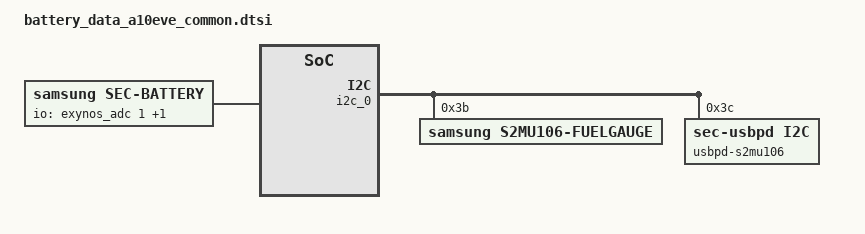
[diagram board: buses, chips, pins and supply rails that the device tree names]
/*
 * A10E JPN Battery parameters device tree file
 *
 * Copyright (C) 2018 Samsung Electronics, Inc.
 *
 * This program is free software; you can redistribute it and/or
 * modify it under the terms of the GNU General Public License
 * as published by the Free Software Foundation; either version 2
 * of the License, or (at your option) any later version.
 *
 * This program is distributed in the hope that it will be useful,
 * but WITHOUT ANY WARRANTY; without even the implied warranty of
 * MERCHANTABILITY or FITNESS FOR A PARTICULAR PURPOSE. See the
 * GNU General Public License for more details.
 *
 * You should have received a copy of the GNU General Public License
 * along with this program. If not, see <http://www.gnu.org/licenses/>.
 *
 */

/ {
	fragment@battery {
		target-path = "/";
		__overlay__ {
			battery_params {
				battery,battery_data =
				<
					/***** battery data for 4.35 *****/
					/* battery,battery_table3 */
					193 10 75 10 212 9 103 9 254 8
					160 8 62 8 233 7 156 7 66 7
					237 6 181 6 139 6 106 6 79 6
					53 6 18 6 236 5 181 5 141 5
					250 4 216 1 105 8 0 8 151 7
					47 7 198 6 93 6 245 5 140 5
					35 5 187 4 82 4 233 3 128 3
					24 3 175 2 70 2 222 1 117 1
					12 1 164 0 59 0 210 15

					/* battery,battery_table4 */
					10 10 10 10 97 97 96 97 96 96
					96 96 97 98 100 101 104 107 113 124
					138 206

					/* battery,batcap */
					0x14 0x2D 0xA0 0x07  /* [0x0E] [0x0F] [0x10] [0x11] */

					/* battery,accum */ 
					0x00 0x08 /* [0x44] [0x45] */

					/* battery,soc_arr_val */
					10511 10000 9488 8977 8466 7955 7444 6933 6422 5910
					5399 4888 4377 3866 3355 2844 2332 1821 1310 799
					288 (-222)

					/* battery,ocv_arr_val */
					43443 42864 42285 41751 41242 40779 40304 39888 39510 39072
					38657 38383 38180 38017 37886 37758 37586 37402 37133 36936
					36223 32306

					/* battery,tunning */
					0x00

					/***** battery data for 4.33 *****/
					/* battery,battery_table3 */
					193 10 75 10 212 9 103 9 254 8
					160 8 62 8 233 7 156 7 66 7
					237 6 181 6 139 6 106 6 79 6
					53 6 18 6 236 5 181 5 141 5
					250 4 216 1 169 8 62 8 210 7
					102 7 251 6 143 6 35 6 184 5
					76 5 224 4 117 4 9 4 157 3
					50 3 198 2 90 2 239 1 131 1
					23 1 172 0 64 0 212 15

					/* battery,battery_table4 */
					51 51 97 97 97 97 96 97 96 96
					96 96 97 98 100 101 104 107 113 124
					138 100

					/* battery,batcap */
					0x50 0x2D 0x54 0x0B /* [0x0E] [0x0F] [0x10] [0x11] */
					/* battery,accum */
					0x00 0x8 /* [0x44] [0x45] */

					/* battery,soc_arr_val */
					10826 10301 9775 9249 8723 8198 7672 7146 6620 6095
					5569 5043 4518 3992 3466 2940 2415 1889 1363 838
					312 (-213)

					/* battery,ocv_arr_val */
					43443 42864 42285 41751 41242 40779 40304 39888 39510 39072
					38657 38383 38180 38017 37886 37758 37586 37402 37133 36936
					36223 32306

					/* battery,tunning */
					0x00

					/***** battery data for 4.31 *****/
					/* battery,battery_table3 */
					193 10 75 10 212 9 103 9 254 8
					160 8 62 8 233 7 156 7 66 7
					237 6 181 6 139 6 106 6 79 6
					53 6 18 6 236 5 181 5 141 5
					250 4 216 1 212 8 102 8 248 7
					139 7 29 7 175 6 65 6 212 5
					102 5 248 4 138 4 29 4 175 3
					65 3 212 2 102 2 248 1 138 1
					29 1 175 0 65 0 211 15

					/* battery,battery_table4 */
					51 51 97 97 97 97 96 97 96 96
					96 96 97 98 100 101 104 107 113 124
					138 100

					/* battery,batcap */
					0x88 0x2C 0x22 0x0B /* [0x0E] [0x0F] [0x10] [0x11] */
					/* battery,accum */
					0x00 0x8 /* [0x44] [0x45] */

					/* battery,soc_arr_val */
					11034 10498 9962 9426 8891 8355 7819 7283 6747 6212
					5676 5140 4604 4068 3533 2997 2461 1925 1389 854
					318 (-217)
					

					/* battery,ocv_arr_val */
					43443 42864 42285 41751 41242 40779 40304 39888 39510 39072
					38657 38383 38180 38017 37886 37758 37586 37402 37133 36936
					36223 32306

					/* battery,tunning */
					0x00

					/***** battery data for 4.29 *****/
					/* battery,battery_table3 */
					193 10 75 10 212 9 103 9 254 8
					160 8 62 8 233 7 156 7 66 7
					237 6 181 6 139 6 106 6 79 6
					53 6 18 6 236 5 181 5 141 5
					250 4 216 1 9 9 153 8 40 8
					184 7 72 7 215 6 103 6 247 5
					134 5 22 5 166 4 54 4 197 3
					85 3 229 2 116 2 4 2 148 1
					35 1 179 0 67 0 210 15

					/* battery,battery_table4 */
					51 51 97 97 97 97 96 97 96 96
					96 96 97 98 100 101 104 107 113 124
					138 100

					/* battery,batcap */
					0xC0 0x2B 0xF0 0x0A /* [0x0E] [0x0F] [0x10] [0x11] */
					/* battery,accum */
					0x00 0x8 /* [0x44] [0x45] */

					/* battery,soc_arr_val */
					11294 10745 10197 9648 9100 8552 8003 7455 6906 6358
					5810 5261 4713 4164 3616 3067 2519 1971 1422 874
					325 (-222)

					/* battery,ocv_arr_val */
					43443 42864 42285 41751 41242 40779 40304 39888 39510 39072
					38657 38383 38180 38017 37886 37758 37586 37402 37133 36936
					36223 32306

					/* battery,tunning */
					0x00

					/***** battery data for 4.24 *****/
					/* battery,battery_table3 */
					193 10 75 10 212 9 103 9 254 8
					160 8 62 8 233 7 156 7 66 7
					237 6 181 6 139 6 106 6 79 6
					53 6 18 6 236 5 181 5 141 5
					250 4 216 1 144 9 25 9 162 8
					43 8 180 7 61 7 198 6 80 6
					217 5 98 5 235 4 116 4 253 3
					135 3 16 3 153 2 34 2 171 1
					52 1 189 0 71 0 208 15

					/* battery,battery_table4 */
					51 51 97 97 97 97 96 97 96 96
					96 96 97 98 100 101 104 107 113 124
					138 100

					/* battery,batcap */
					0x68 0x29 0x5A 0x0A /* [0x0E] [0x0F] [0x10] [0x11] */
					/* battery,accum */
					0x00 0x8 /* [0x44] [0x45] */

					/* battery,soc_arr_val */
					11951 11370 10790 10210 9629 9049 8469 7888 7308 6728
					6147 5567 4987 4406 3826 3246 2666 2085 1505 925
					344 (-235)

					/* battery,ocv_arr_val */
					43443 42864 42285 41751 41242 40779 40304 39888 39510 39072
					38657 38383 38180 38017 37886 37758 37586 37402 37133 36936
					36223 32306

					/* battery,tunning */
					0x00
					>;

				battery,data_ver = <0x04>;
			};

			pdic-manager {
				/* sink */
				pdic,max_power = <5000>;
				pdic,op_power = <2500>;
				pdic,max_voltage = <6000>;
				pdic,max_current = <2000>;
				pdic,min_current = <500>;

				pdic,giveback = <0>;
				pdic,usb_com_capable = <1>;
				pdic,no_usb_suspend = <1>;

				/* source */
				source,max_voltage = <5000>;
				source,min_voltage = <4000>;
				source,max_power = <2500>;

				/* sink cap */
				sink,capable_max_voltage = <9000>;
			};

			battery {
				status = "okay";
				compatible = "samsung,sec-battery";

				pinctrl-names = "default";

				battery,vendor = "Battery";
				battery,charger_name = "s2mu106-charger";
				battery,fuelgauge_name = "s2mu106-fuelgauge";
				battery,technology = <2>; /* POWER_SUPPLY_TECHNOLOGY_LION */
				battery,fgsrc_switch_name = "s2mu106-fuelgauge"; /* Fuelgauge voltage source */

				battery,chip_vendor = "LSI";
				battery,temp_adc_type = <1>; /* SEC_BATTERY_ADC_TYPE_AP */

				battery,temp_check_type = <2>; /* SEC_BATTERY_TEMP_CHECK_TEMP */
				battery,chg_temp_check = <1>;

				battery,thermal_source = <2>; /* SEC_BATTERY_THERMAL_SOURCE_ADC */
				battery,chg_thermal_source = <2>; /* SEC_CHARGER_THERMAL_SOURCE_FG */

				battery,polling_time = <10 30 30 30 3600>;

				battery,temp_table_adc = <
							339 389 443 468 549 639 666 722 788 874
							1019 1177 1277 1404 1493 1608 1808 2061 2309 2502
							2636 2725 2818 2923 3112 3257 3400 3515 3612
							>;
				battery,temp_table_data = <
							900 850 800 750 700 650 620 600 580 550
							500 450 420 400 380 350 300 250 200 150
							120 100 80 50 0 (-50) (-100) (-150) (-200)
							>;

				battery,inbat_voltage = <1>;

				battery,inbat_voltage_table_adc = <
							2766 2755 2728 2698 2678 2649 2620 2598 2562 2532
							2508 2475 2448 2429 2401 2370 2348 2318 2288 2258
							>;
				battery,inbat_voltage_table_data = <
							4350 4300 4250 4200 4150 4100 4050 4000 3950 3900
							3850 3800 3750 3700 3650 3600 3550 3500 3450 3400
							>;

				battery,adc_check_count = <5>;

				battery,cable_check_type = <4>; /* SEC_BATTERY_CABLE_CHECK_PSY */
				battery,cable_source_type = <1>; /* SEC_BATTERY_CABLE_SOURCE_EXTERNAL */
				battery,polling_type = <1>; /* SEC_BATTERY_MONITOR_ALARM */
				battery,monitor_initial_count = <0>;

				battery,pre_afc_input_current = <500>;

				battery,battery_check_type = <0>; /* SEC_BATTERY_CHECK_NONE */
				battery,check_count = <0>;

				battery,ovp_uvlo_check_type = <3>; /* SEC_BATTERY_OVP_UVLO_CHGPOLLING */

				battery,temp_check_count = <1>;
				battery,temp_highlimit_threshold_event = <800>;
				battery,temp_highlimit_recovery_event = <750>;
				battery,temp_high_threshold_event = <500>;
				battery,temp_high_recovery_event = <480>;
				battery,temp_low_threshold_event = <0>;
				battery,temp_low_recovery_event = <20>;
				battery,temp_highlimit_threshold_normal = <800>;
				battery,temp_highlimit_recovery_normal = <750>;
				battery,temp_high_threshold_normal = <500>;
				battery,temp_high_recovery_normal = <480>;
				battery,temp_low_threshold_normal = <0>;
				battery,temp_low_recovery_normal = <20>;
				battery,temp_highlimit_threshold_lpm = <800>;
				battery,temp_highlimit_recovery_lpm = <750>;
				battery,temp_high_threshold_lpm = <500>;
				battery,temp_high_recovery_lpm = <480>;
				battery,temp_low_threshold_lpm = <0>;
				battery,temp_low_recovery_lpm = <20>;
				battery,wpc_high_threshold_normal = <450>;
				battery,wpc_high_recovery_normal = <400>;
				battery,wpc_low_threshold_normal = <0>;
				battery,wpc_low_recovery_normal = <50>;

				battery,full_check_type = <2>; /* SEC_BATTERY_FULLCHARGED_FG_CURRENT */
				battery,full_check_type_2nd = <2>; /* SEC_BATTERY_FULLCHARGED_FG_CURRENT */
				battery,full_check_count = <1>;
				battery,chg_gpio_full_check = <0>;
				battery,chg_polarity_full_check = <1>;

				battery,mix_high_temp = <400>;
				battery,mix_high_chg_temp = <500>;
				battery,mix_high_temp_recovery = <370>;

				battery,chg_heating_prevention_method = <1>; /* SEC_BATTERY_BY_CHANGING_CURRENT */
				battery,chg_high_temp = <495>;
				battery,chg_high_temp_recovery = <475>;
				battery,chg_input_limit_current = <1000>;
				battery,chg_charging_limit_current = <1500>;

				/* SEC_BATTERY_FULL_CONDITION_SOC |
				 * SEC_BATTERY_FULL_CONDITION_NOTIMEFULL |
				 * SEC_BATTERY_FULL_CONDITION_VCELL
				 */
				battery,full_condition_type = <13>;
				battery,full_condition_soc = <93>;
				battery,full_condition_vcell = <4250>;

				battery,recharge_check_count = <1>;
				battery,recharge_condition_type = <4>; /* SEC_BATTERY_RECHARGE_CONDITION_VCELL */
				battery,recharge_condition_soc = <98>;
				battery,recharge_condition_vcell = <4280>;

				battery,charging_total_time = <14400>;
				battery,hv_charging_total_time = <10800>;
				battery,normal_charging_total_time = <18000>;
				battery,usb_charging_total_time = <36000>;
				battery,recharging_total_time = <5400>;
				battery,charging_reset_time = <0>;

				battery,chg_float_voltage = <4350>;

				battery,swelling_high_temp_block = <410>;
				battery,swelling_high_temp_recov = <390>;
				battery,swelling_wc_high_temp_recov = <390>;
				battery,swelling_low_temp_block_1st = <150>;
				battery,swelling_low_temp_recov_1st = <170>;
				battery,swelling_low_temp_block_2nd = <50>;
				battery,swelling_low_temp_recov_2nd = <70>;

				battery,swelling_low_temp_current = <700>;	/* 0.3C */
				battery,swelling_low_temp_current_2nd = <250>; /* 0.1C */
				battery,swelling_low_temp_topoff = <150>;	/* 0.05C */
				battery,swelling_high_temp_current = <1050>;	/* 0.45C */
				battery,swelling_high_temp_topoff = <150>;	/* 0.05C */

				battery,swelling_drop_float_voltage = <4150>;
				battery,swelling_high_rechg_voltage = <4000>;
				battery,swelling_low_rechg_voltage = <4000>;

				battery,siop_event_check_type = <1>;
				battery,siop_call_cv_current = <330>;
				battery,siop_call_cc_current = <330>;

				battery,siop_input_limit_current = <1200>;
				battery,siop_charging_limit_current = <1000>;
				battery,siop_hv_input_limit_current = <700>;
				battery,siop_hv_charging_limit_current = <1000>;

				battery,pd_charging_charge_power = <15000>;
				battery,max_charging_current = <2100>;
				battery,battery_full_capacity = <3000>;

				battery,input_current_by_siop_20 = <400>;
				battery,input_current_by_siop_40 = <500>;

				/* cycle, chg_float_voltage, recharge_condition_vcell, full_condition_vcell, full_condition_soc */
				battery,age_data = <0 4350 4280 4250 93	/*4.35*/
						200 4330 4260 4230 92	/*4.33*/
						250 4310 4240 4210 91	/*4.31*/
						300 4290 4220 4190 90	/*4.29*/
						1000 4240 4170 4140 89	/*4.24*/
						>;

				battery,max_input_voltage = <9000>; /* mV */
				battery,max_input_current = <3000>;  /* mA */

				battery,prepare_afc_delay = <0>;
				battery,recovery_cable;

				battery,standard_curr = <2100>;
				battery,expired_time = <10800>; /* 120 + 60 minutes */
				battery,recharging_expired_time = <5400>;

				battery,cisd_max_voltage_thr = <5000>; /* battery ovp detection voltage */

				battery,cisd_alg_index = <7>;
				battery,lowtemp_support_full_volt;
				battery,enable_water_resistance;

				io-channels = <&exynos_adc 1>, <&exynos_adc 2>;
				io-channel-names = "adc-temp", "adc-in-bat";
				#io-channel-cells = <5>;
				io-channel-ranges;

				battery,ttf_hv_charge_current = <1925>;
				battery,ttf_capacity = <2500>;
				battery,cv_data = <
							2124	743	2397
							1968	761	2290
							1710	777	2185
							1557	792	2077
							1389	805	1972
							1302	813	1901
							1190	824	1795
							1080	835	1689
							978	844	1583
							900	851	1488
							813	859	1382
							770	865	1298
							716	871	1196
							636	877	1097
							601	882	990
							549	887	895
							522	892	798
							479	896	692
							440	911	598
							410	927	493
							371	941	395
							362	953	289
							341	963	194
							335	971	105
							295	979	0
							>;
			};

/* sec_battery_cable
 *   0	UNKNOWN,
 *   1	NONE,
 *   2	PREPARE_TA,
 *   3	TA,
 *   4	USB,
 *   5	USB_CDP,
 *   6	9V_TA,
 *   7	9V_ERR,
 *   8	9V_UNKNOWN,
 *   9	12V_TA,
 *  10	WIRELESS,
 *  11	HV_WIRELESS,
 *  12	PMA_WIRELESS,
 *  13	WIRELESS_PACK,
 *  14	WIRELESS_PACK_TA,
 *  15	WIRELESS_STAND,
 *  16	WIRELESS_HV_STAND,
 *  17	QC20,
 *  18	QC30,
 *  19	PDIC,
 *  20	UARTOFF,
 *  21	OTG,
 *  22	LAN_HUB,
 *  23	POWER_SHARING,
 *  24	HMT_CONNECTED,
 *  25	HMT_CHARGE,
 *  26	HV_TA_CHG_LIMIT,
 *  27	WIRELESS_VEHICLE,
 *  28	WIRELESS_HV_VEHICLE,
 *  29	PREPARE_WIRELESS_HV,
 *  30	TIMEOUT,
 *  31	SMART_OTG,
 *  32	SMART_NOTG,
 *  33	FACTORY_UART,
 *  34	CABLE_MAX,
 */
			cable-info {
				default_input_current = <1800>;
				default_charging_current = <2100>;
				full_check_current_1st = <300>;
				full_check_current_2nd = <150>;

				current_group_1 {
					cable_number = <1 4 19 21 22 23 30>;
					input_current = <500>;
					charging_current = <500>;
				};

				current_group_2 {
					cable_number = <2 25 31>;
					input_current = <1000>;
					charging_current = <1000>;
				};

				current_group_3 {
					cable_number = <5 32>;
					input_current = <1500>;
					charging_current = <1500>;
				};

				current_group_4 {
					cable_number = <6 7 8>;
					input_current = <1650>;
					charging_current = <2100>;
				};

				current_group_5 {
					cable_number = <9>;
					input_current = <1650>;
					charging_current = <2100>;
				};

				current_group_6 {
					cable_number = <10 12 14 15 27>;
					input_current = <900>;
					charging_current = <1200>;
				};

				current_group_7 {
					cable_number = <13>;
					input_current = <700>;
					charging_current = <1200>;
				};

				current_group_8 {
					cable_number = <24>;
					input_current = <1000>;
					charging_current = <450>;
				};

				current_group_9 {
					cable_number = <26>;
					input_current = <2000>;
					charging_current = <1800>;
				};

				current_group_10 {
					cable_number = <11 16 28>;
					input_current = <650>;
					charging_current = <1200>;
				};

				current_group_11 {
					cable_number = <29>;
					input_current = <500>;
					charging_current = <1200>;
				};
			};

			s2mu106-charger {
				status = "disable";
				compatible = "samsung,s2mu106-charger";
			};
		};
	};
};

&pinctrl_0 {
	fuel_irq: fuel-irq {
		samsung,pins = "gpa2-4";
		samsung,pin-function = <0>;
		samsung,pin-pud = <2>;
		samsung,pin-drv = <0>;
	};

	if_pmic_irq: if-pmic-irq {
		samsung,pins = "gpa2-2";
		samsung,pin-function = <0>;
		samsung,pin-pud = <0>;
		samsung,pin-drv = <0>;
	};

	usbpd_irq: usbpd-irq {
		samsung,pins = "gpa2-3";
		samsung,pin-function = <0x0f>;
		samsung,pin-pud = <0>;
		samsung,pin-drv = <0>;
	};
};

&i2c_0 {
	i2c-gpio,delay-us = <5>;
	status = "okay";
	s2mu106-fuelgauge@3B {
		compatible = "samsung,s2mu106-fuelgauge";
		reg = <0x3B>;
		pinctrl-names = "default";
		pinctrl-0 = <&fuel_irq>;
		fuelgauge,fuel_int = <&gpa2 4 0>;
		fuelgauge,fuel_alert_soc = <1>;
		fuelgauge,fuel_alert_vol = <3300>;
		fuelgauge,low_temp_limit = <100>;
		fuelgauge,sw_vbat_l_recovery_vol = <3465>;
		fuelgauge,capacity_max = <1000>;
		fuelgauge,capacity_max_margin = <200>;
		fuelgauge,capacity_min = <0>;
		fuelgauge,capacity_calculation_type = <28>;
		fuelgauge,capacity_full = <3000>;
		fuelgauge,type_str = "SDI";
		fuelgauge,fg_log_enable = <1>;
	};

	usbpd-s2mu106@3C {
		compatible = "sec-usbpd,i2c";
		reg = <0x3C>;
		pinctrl-names = "default";
		pinctrl-0     = <&usbpd_irq>;
		usbpd,usbpd_int = <&gpa2 3 0>;
	};
};
